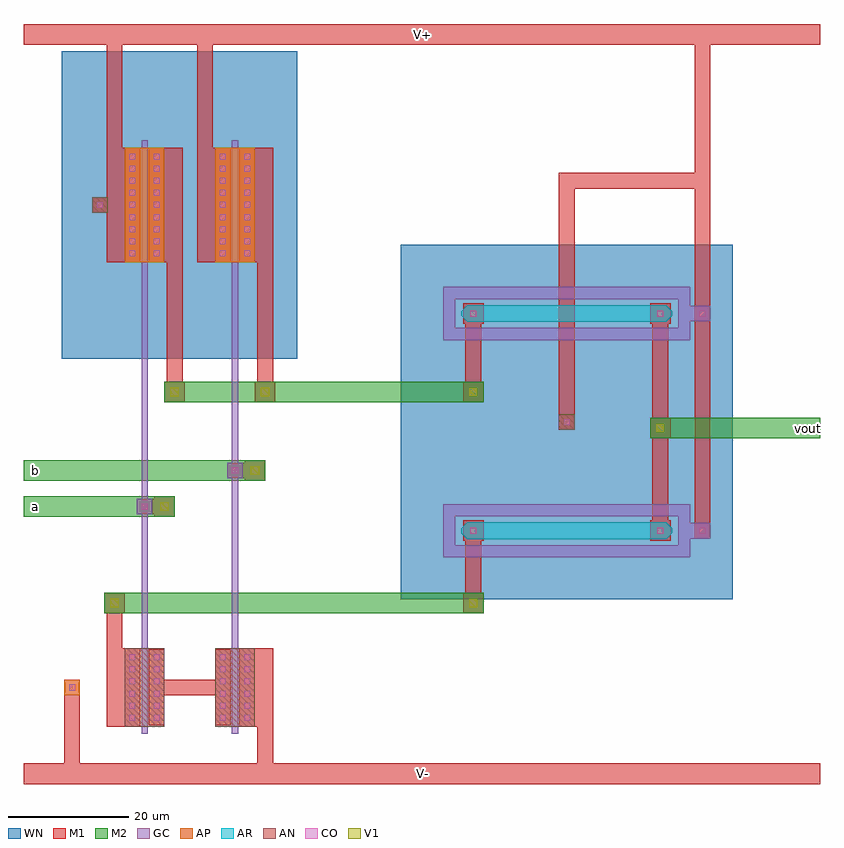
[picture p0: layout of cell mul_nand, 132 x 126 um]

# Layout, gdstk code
import gdstk
lib = gdstk.Library(unit=1e-6, precision=1e-09)
def R(c, l, rs):  # rectangles x0, y0, x1, y1
    for r in rs: c.add(gdstk.rectangle(r[:2], r[2:], *l))
def A(c, l, x, y, w, h, nx, ny, dx, dy):  # array of equal rectangles
    R(c, l, [(x+i*dx, y+j*dy, x+i*dx+w, y+j*dy+h) for i in range(nx) for j in range(ny)])
def P(c, l, *ps):  # polygons
    for p in ps: c.add(gdstk.Polygon(p, *l))
AP = (3, 1)
AN = (3, 2)
AR = (3, 3)
GC = (8, 1)
CO = (11, 0)
M1 = (13, 0)
V1 = (19, 0)
M2 = (20, 0)
WN = (140, 0)

fet_p = lib.new_cell('fet_p')
R(fet_p, AP, [(-3.3,-9.5,3.3,9.5)])
A(fet_p, CO, -2.5, -8.5, 1, 1, 1, 9, 0, 2)
A(fet_p, CO, 1.5, -8.5, 1, 1, 1, 9, 0, 2)
R(fet_p, M1, [(-3.3,-9.3,-0.7,9.3), (0.7,-9.3,3.3,9.3)])
fet_p.add(gdstk.FlexPath([(0,-10.7),(0,10.7)], 1, ends="flush", simple_path=True, layer=8, datatype=1))  # GC

fet_n = lib.new_cell('fet_n')
R(fet_n, AN, [(-3.3,-6.5,3.3,6.5)])
A(fet_n, CO, -2.5, -5.5, 1, 1, 1, 6, 0, 2)
A(fet_n, CO, 1.5, -5.5, 1, 1, 1, 6, 0, 2)
R(fet_n, M1, [(-3.3,-6.3,-0.7,6.3), (0.7,-6.3,3.3,6.3)])
fet_n.add(gdstk.FlexPath([(0,-7.7),(0,7.7)], 1, ends="flush", simple_path=True, layer=8, datatype=1))  # GC

res_diff = lib.new_cell('res_diff')
P(res_diff, AR, [(-16.5,-1.4),(-17.5,-0.4),(-17.5,0.4),(-16.5,1.4),(16.5,1.4),(17.5,0.4),(17.5,-0.4),(16.5,-1.4)])
P(res_diff, GC, [(-20.5,-4.4),(-20.5,2.4),(-18.5,2.4),(-18.5,-2.4),(18.5,-2.4),(18.5,2.4),(-20.5,2.4),(-20.5,4.4),(20.5,4.4),(20.5,-4.4)])
R(res_diff, CO, [(-16,-0.5,-15,0.5), (15,-0.5,16,0.5)])
R(res_diff, M1, [(-17.2,-1.7,-13.8,1.7), (13.8,-1.7,17.2,1.7)])

cont_n = lib.new_cell('cont_n')
R(cont_n, AN, [(-1.3,-1.3,1.3,1.3)])
R(cont_n, CO, [(-0.5,-0.5,0.5,0.5)])
R(cont_n, M1, [(-1.3,-1.3,1.3,1.3)])

cont_p = lib.new_cell('cont_p')
R(cont_p, AP, [(-1.3,-1.3,1.3,1.3)])
R(cont_p, CO, [(-0.5,-0.5,0.5,0.5)])
R(cont_p, M1, [(-1.3,-1.3,1.3,1.3)])

cont_g = lib.new_cell('cont_g')
R(cont_g, GC, [(-1.3,-1.3,1.3,1.3)])
R(cont_g, CO, [(-0.5,-0.5,0.5,0.5)])
R(cont_g, M1, [(-1.3,-1.3,1.3,1.3)])

via_1 = lib.new_cell('via_1')
R(via_1, M1, [(-1.7,-1.7,1.7,1.7)])
R(via_1, V1, [(-0.7,-0.7,0.7,0.7)])
R(via_1, M2, [(-1.7,-1.7,1.7,1.7)])

mul_nand = lib.new_cell('mul_nand')
R(mul_nand, GC, [(19.5,15.5,20.5,96.5), (34.5,15.5,35.5,96.5), (109.2,40.7,113.8,43.3), (109.2,76.7,113.8,79.3)])
R(mul_nand, M1, [(0,0,132,3.4), (6.7,0.4,9.3,17.3), (38.7,0.4,41.3,17.3), (13.7,9.5,19.3,22.5), (35.7,9.5,41.3,22.5), (13.7,14.7,19.3,17.3), (13.7,14.7,16.3,31.3), (20.7,14.7,34.3,17.3), (35.7,14.7,41.3,17.3), (73.2,28.7,75.8,43.3), (104.2,40.7,106.8,79.3), (111.2,40.7,113.8,101.3), (18.7,44.7,24.6,47.3), (33.7,50.7,39.6,53.3), (88.7,58.7,91.3,101.3), (23.7,63.7,26.3,97.3), (38.7,63.7,41.3,97.3), (73.2,63.7,75.8,79.3), (13.7,86.5,19.3,105.5), (20.7,86.5,26.3,105.5), (28.7,86.5,34.3,105.5), (35.7,86.5,41.3,105.5), (11.3,94.7,16.3,97.3), (13.7,94.7,16.3,125.6), (13.7,94.7,16.3,125.6), (13.7,94.7,19.3,97.3), (20.7,94.7,26.3,97.3), (28.7,94.7,31.3,125.6), (28.7,94.7,34.3,97.3), (35.7,94.7,41.3,97.3), (88.7,98.7,113.8,101.3), (111.2,98.7,113.8,125.6), (0,122.6,132,126)])
R(mul_nand, M2, [(13.3,28.3,76.2,31.7), (0,44.3,25,47.7), (0,50.3,40,53.7), (103.8,57.3,132,60.7), (23.3,63.3,76.2,66.7)])
R(mul_nand, WN, [(62.5,30.6,117.5,89.4), (6.3,70.5,45.3,121.5)])
mul_nand.add(gdstk.Reference(fet_p, (20,96)))
mul_nand.add(gdstk.Reference(fet_n, (20,16)))
mul_nand.add(gdstk.Reference(fet_p, (35,96)))
mul_nand.add(gdstk.Reference(fet_n, (35,16)))
mul_nand.add(gdstk.Reference(res_diff, (90,78)))
mul_nand.add(gdstk.Reference(res_diff, (90,42)))
mul_nand.add(gdstk.Reference(cont_n, (12.6,96)))
mul_nand.add(gdstk.Reference(cont_n, (90,60)))
mul_nand.add(gdstk.Reference(cont_p, (8,16)))
mul_nand.add(gdstk.Reference(cont_g, (112.5,42)))
mul_nand.add(gdstk.Reference(cont_g, (112.5,78)))
mul_nand.add(gdstk.Reference(via_1, (25,65)))
mul_nand.add(gdstk.Reference(via_1, (40,65)))
mul_nand.add(gdstk.Reference(via_1, (15,30)))
mul_nand.add(gdstk.Reference(cont_g, (20,46)))
mul_nand.add(gdstk.Reference(via_1, (23.3,46)))
mul_nand.add(gdstk.Reference(cont_g, (35,52)))
mul_nand.add(gdstk.Reference(via_1, (38.3,52)))
mul_nand.add(gdstk.Reference(via_1, (74.5,65)))
mul_nand.add(gdstk.Reference(via_1, (74.5,30)))
mul_nand.add(gdstk.Reference(via_1, (105.5,59)))
mul_nand.add(gdstk.Label('a', (2,46), layer=49, texttype=0))
mul_nand.add(gdstk.Label('b', (2,52), layer=49, texttype=0))
mul_nand.add(gdstk.Label('vout', (130,59), layer=49, texttype=0))
mul_nand.add(gdstk.Label('V+', (66,124.3), layer=48, texttype=0))
mul_nand.add(gdstk.Label('V-', (66,1.7), layer=48, texttype=0))

lib.write_gds('mul_nand.gds')
